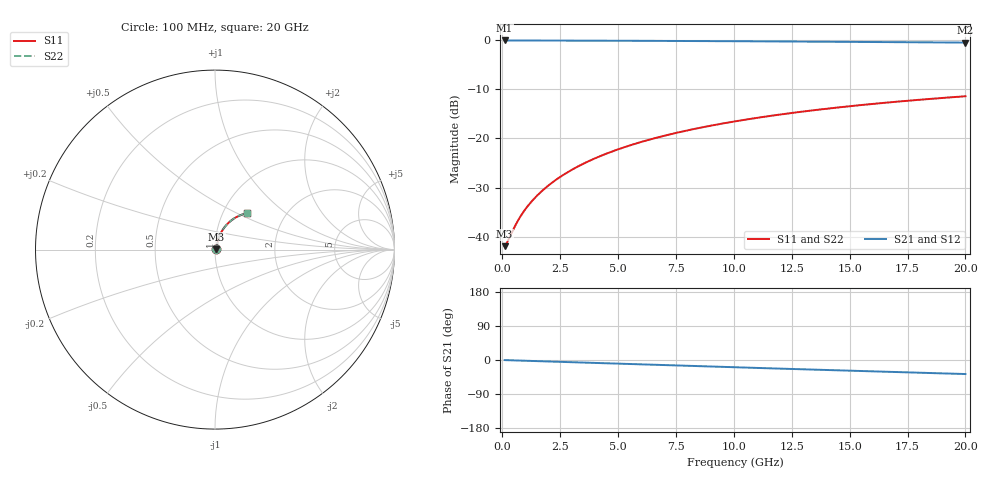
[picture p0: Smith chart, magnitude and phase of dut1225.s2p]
! Touchstone file exported from HFSS 2026.1.0
!  File:  C:/ffzhzh/LocalFiles/Ansys_Project_Files/temp_train_BSMRDL_1225_1783176894_55132.aedt
!  Generated:  10:56:04 PM Jul  4, 2026
!  Design:  BSMRDL
!  Project:  temp_train_BSMRDL_1225_1783176894_55132
! Variables:
!  h_bsmrdl = 2.42um
!  h_ox = 20um
!  h_rdl = 5um
!  h_sub = 80um
!  h_tmrdl = 5um
!  h_tsv = 80um
!  h_via = 3um
!  l_bsmrdl = 606.67um
!  l_sub = 1006.67um
!  l_tmrdl = 200um
!  m_sub = 200um
!  pitch = 20.17um
!  r_tsv = 6um
!  s_tmrdl = 10um
!  w_bsmrdl = 11.4um
!  w_sub = 500um
!  w_tmrdl = 12um
!  x_tsv_center1 = 206um
!  x_tsv_center2 = 824.07um
!  x_tsv_center3 = 1036.07um
!  x_tsv_center4 = 1654.14um
!  x_tsv_center5 = 1866.14um
!  x_tsv_center6 = 2484.21um
# GHz S MA R 50.000000
! Terminal data exported
! Port[1] = BSM_RDL1_1_T1
! Port[2] = BSM_RDL1_1_T2
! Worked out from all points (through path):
!   200 points, 100 MHz to 20 GHz, reference 50 ohm
!   highest |S21| = -0.07 dB at 100 MHz (marker M1); lowest = -0.5 dB at 20 GHz (marker M2)
!   group delay of S21, straight-line fit = 5.14 ps
!   lowest |S11| = -41.9 dB at 100 MHz (marker M3), VSWR 1.02, Z = 50.8 + j0.183 ohm
!   |S11| at or under -10 dB: start of sweep to end of sweep
!   |S22| runs from -41.9 to -11.4 dB; largest |S21 - S12| = 3.5e-15
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0.1  0.00803 13.0  0.9922 -0.2  0.9922 -0.2  0.00803 13.0
! Gamma 0 0 0 0
! Port Impedance 50 0 50 0
0.2  0.008706 24.3  0.9921 -0.4  0.9921 -0.4  0.008706 24.3
0.6  0.01355 49.4  0.9914 -1.2  0.9914 -1.2  0.01355 49.4
0.8  0.01633 55.1  0.991 -1.6  0.991 -1.6  0.01633 55.1
0.9  0.01773 57.3  0.9908 -1.8  0.9908 -1.8  0.01773 57.3
1.1  0.02054 60.6  0.9904 -2.2  0.9904 -2.2  0.02054 60.6
1.4  0.02478 64.1  0.99 -2.8  0.99 -2.8  0.02478 64.1
1.8  0.03048 67.2  0.9896 -3.5  0.9896 -3.5  0.03048 67.3
2.3  0.03772 69.6  0.9891 -4.5  0.9891 -4.5  0.03772 69.7
2.9  0.04651 71.2  0.9884 -5.7  0.9884 -5.7  0.0465 71.2
3.5  0.05535 71.9  0.9877 -6.8  0.9877 -6.8  0.05535 72.0
4.2  0.0657 72.1  0.9868 -8.1  0.9868 -8.1  0.06569 72.2
5  0.07749 71.8  0.9856 -9.7  0.9856 -9.7  0.07748 71.9
5.9  0.09067 71.1  0.9841 -11.4  0.9841 -11.4  0.09066 71.1
6.8  0.1037 70.1  0.9823 -13.1  0.9823 -13.1  0.1037 70.1
8.3  0.1251 68.0  0.9791 -15.9  0.9791 -15.9  0.125 68.1
10.1  0.1499 65.3  0.9746 -19.3  0.9746 -19.3  0.1499 65.4
11.7  0.1713 62.7  0.9702 -22.2  0.9702 -22.2  0.1712 62.8
13.4  0.193 59.8  0.9651 -25.3  0.9651 -25.3  0.193 60.0
15  0.2127 57.2  0.9601 -28.2  0.9601 -28.2  0.2127 57.3
16.7  0.2327 54.3  0.9546 -31.2  0.9546 -31.2  0.2326 54.4
20  0.2686 48.8  0.9438 -37.0  0.9438 -37.0  0.2685 49.0
